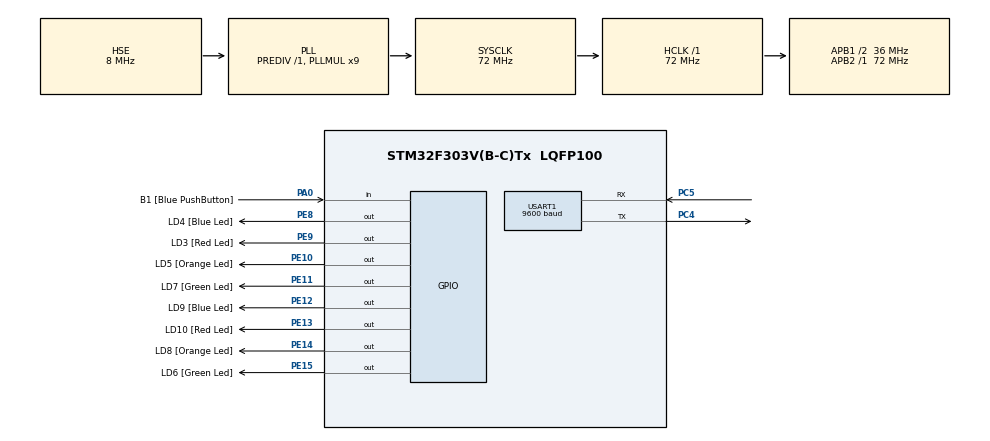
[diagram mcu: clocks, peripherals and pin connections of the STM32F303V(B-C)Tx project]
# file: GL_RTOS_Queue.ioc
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Dma.Request0=USART1_TX
Dma.USART1_TX.0.Direction=DMA_MEMORY_TO_PERIPH
Dma.USART1_TX.0.Instance=DMA1_Channel4
Dma.USART1_TX.0.MemDataAlignment=DMA_MDATAALIGN_BYTE
Dma.USART1_TX.0.MemInc=DMA_MINC_ENABLE
Dma.USART1_TX.0.Mode=DMA_NORMAL
Dma.USART1_TX.0.PeriphDataAlignment=DMA_PDATAALIGN_BYTE
Dma.USART1_TX.0.PeriphInc=DMA_PINC_DISABLE
Dma.USART1_TX.0.Priority=DMA_PRIORITY_LOW
FREERTOS.Queues01=myQueue01,256,uint8_t,0,Dynamic,NULL,NULL
FREERTOS.Tasks01=Sender,24,128,SenderTask,Default,NULL,Dynamic,NULL,NULL;Receiver,24,128,ReceiverTask,Default,NULL,Dynamic,NULL,NULL
Mcu.Family=STM32F3
Mcu.Name=STM32F303V(B-C)Tx
Mcu.Package=LQFP100
NVIC.DMA1_Channel4_IRQn=true\:5\:0\:false\:false\:true\:true\:false\:true
NVIC.PriorityGroup=NVIC_PRIORITYGROUP_4
NVIC.TIM7_IRQn=true\:0\:0\:false\:false\:true\:false\:false\:true
NVIC.TimeBase=TIM7_IRQn
NVIC.TimeBaseIP=TIM7
NVIC.USART1_IRQn=true\:5\:0\:false\:false\:true\:true\:true\:true
PA0.GPIO_Label=B1 [Blue PushButton]
PA0.Signal=GPIO_Input
PC4.Mode=Asynchronous
PC4.Signal=USART1_TX
PC5.Mode=Asynchronous
PC5.Signal=USART1_RX
PE10.GPIO_Label=LD5 [Orange Led]
PE10.Signal=GPIO_Output
PE11.GPIO_Label=LD7 [Green Led]
PE11.Signal=GPIO_Output
PE12.GPIO_Label=LD9 [Blue Led]
PE12.Signal=GPIO_Output
PE13.GPIO_Label=LD10 [Red Led]
PE13.Signal=GPIO_Output
PE14.GPIO_Label=LD8 [Orange Led]
PE14.Signal=GPIO_Output
PE15.GPIO_Label=LD6 [Green Led]
PE15.Signal=GPIO_Output
PE8.GPIO_Label=LD4 [Blue Led]
PE8.Signal=GPIO_Output
PE9.GPIO_Label=LD3 [Red Led]
PE9.Signal=GPIO_Output
PF0-OSC_IN.Mode=HSE-External-Oscillator
PF0-OSC_IN.Signal=RCC_OSC_IN
PF1-OSC_OUT.Mode=HSE-External-Oscillator
PF1-OSC_OUT.Signal=RCC_OSC_OUT
ProjectManager.HeapSize=0x200
ProjectManager.StackSize=0x400
ProjectManager.TargetToolchain=MDK-ARM V5.27
RCC.AHBFreq_Value=72000000
RCC.APB1CLKDivider=RCC_HCLK_DIV2
RCC.APB1Freq_Value=36000000
RCC.APB1TimFreq_Value=72000000
RCC.APB2Freq_Value=72000000
RCC.APB2TimFreq_Value=72000000
RCC.CortexFreq_Value=72000000
RCC.HCLKFreq_Value=72000000
RCC.HSE_VALUE=8000000
RCC.HSI_VALUE=8000000
RCC.LSE_VALUE=32768
RCC.PLLMUL=RCC_PLL_MUL9
RCC.PLLSourceVirtual=RCC_PLLSOURCE_HSE
RCC.SYSCLKFreq_VALUE=72000000
RCC.SYSCLKSourceVirtual=RCC_SYSCLKSOURCE_PLLCLK
RCC.USBFreq_Value=72000000
USART1.BaudRate=9600
USART1.VirtualMode-Asynchronous=VM_ASYNC
VP_FREERTOS_VS_CMSIS_V2.Mode=CMSIS_V2
VP_SYS_VS_tim7.Mode=TIM7
board=STM32F3DISCOVERY

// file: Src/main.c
/* USER CODE BEGIN Header */
/**
  ******************************************************************************
  * @file           : main.c
  * @brief          : Main program body
  ******************************************************************************
  * @attention
  *
  * <h2><center>&copy; Copyright (c) 2020 STMicroelectronics.
  * All rights reserved.</center></h2>
  *
  * This software component is licensed by ST under BSD 3-Clause license,
  * the "License"; You may not use this file except in compliance with the
  * License. You may obtain a copy of the License at:
  *                        opensource.org/licenses/BSD-3-Clause
  *
  ******************************************************************************
  */
/* USER CODE END Header */

#include "main.h"
#include "cmsis_os.h"

/* USER CODE BEGIN PD */
#define Blue_LED GPIO_PIN_8 	///< Queue isn't created. Memmory isn't llocated.
#define Red_LED GPIO_PIN_9 		///< Could not send data to the queue.
#define Orange_LED GPIO_PIN_10 	///< Queue is empty.
#define Green_LED GPIO_PIN_11 	///< Could not receive from the queue.
#define Red_LED2 GPIO_PIN_13 	///< Queue is full.

#define Green_LED2 GPIO_PIN_15 	///< Add data to queue every 0.1 sec

#define LED_GPIO_Port GPIOE
/* USER CODE END PD */

UART_HandleTypeDef huart1;
DMA_HandleTypeDef hdma_usart1_tx;

osThreadId_t SenderHandle;
osThreadId_t ReceiverHandle;
osMessageQueueId_t myQueue01Handle;

void SystemClock_Config(void);
static void MX_GPIO_Init(void);
static void MX_DMA_Init(void);
static void MX_USART1_UART_Init(void);
void SenderTask(void *argument);
void ReceiverTask(void *argument);

int main(void)
{

  /* MCU Configuration--------------------------------------------------------*/

  /* Reset of all peripherals, Initializes the Flash interface and the Systick. */
  HAL_Init();

  /* Configure the system clock */
  SystemClock_Config();

  /* Initialize all configured peripherals */
  MX_GPIO_Init();
  MX_DMA_Init();
  MX_USART1_UART_Init();

  osKernelInitialize();

  /* Create the queue(s) */
  /* definition and creation of myQueue01 */
  const osMessageQueueAttr_t myQueue01_attributes = {
    .name = "myQueue01"
  };
  myQueue01Handle = osMessageQueueNew (256, sizeof(uint8_t), &myQueue01_attributes);

  /* USER CODE BEGIN RTOS_QUEUES */
  /* add queues, ... */
  if (myQueue01Handle != NULL)
  {
  /* USER CODE END RTOS_QUEUES */

  /* Create the thread(s) */
  /* definition and creation of Sender */
  const osThreadAttr_t Sender_attributes = {
    .name = "Sender",
    .priority = (osPriority_t) osPriorityNormal,
    .stack_size = 128
  };
  SenderHandle = osThreadNew(SenderTask, NULL, &Sender_attributes);

  /* definition and creation of Receiver */
  const osThreadAttr_t Receiver_attributes = {
    .name = "Receiver",
    .priority = (osPriority_t) osPriorityNormal,
    .stack_size = 128
  };
  ReceiverHandle = osThreadNew(ReceiverTask, NULL, &Receiver_attributes);

  /* Start scheduler */
  osKernelStart();

  /* We should never get here as control is now taken by the scheduler */

  /* Infinite loop */
  /* USER CODE BEGIN WHILE */
  }
  else
  {
	uint8_t buffTx[] = "Queue isn't created!\n\r";
	HAL_GPIO_WritePin(LED_GPIO_Port, Blue_LED, GPIO_PIN_RESET);osDelay(1000);
	HAL_GPIO_WritePin(LED_GPIO_Port, Blue_LED, GPIO_PIN_SET);
	HAL_UART_Transmit_DMA(&huart1, buffTx, sizeof(buffTx));
  }

  while (1)
  {
    /* USER CODE END WHILE */

  }
}

void SystemClock_Config(void)
{
  RCC_OscInitTypeDef RCC_OscInitStruct = {0};
  RCC_ClkInitTypeDef RCC_ClkInitStruct = {0};
  RCC_PeriphCLKInitTypeDef PeriphClkInit = {0};

  /** Initializes the CPU, AHB and APB busses clocks
  */
  RCC_OscInitStruct.OscillatorType = RCC_OSCILLATORTYPE_HSE;
  RCC_OscInitStruct.HSEState = RCC_HSE_ON;
  RCC_OscInitStruct.HSEPredivValue = RCC_HSE_PREDIV_DIV1;
  RCC_OscInitStruct.HSIState = RCC_HSI_ON;
  RCC_OscInitStruct.PLL.PLLState = RCC_PLL_ON;
  RCC_OscInitStruct.PLL.PLLSource = RCC_PLLSOURCE_HSE;
  RCC_OscInitStruct.PLL.PLLMUL = RCC_PLL_MUL9;
  if (HAL_RCC_OscConfig(&RCC_OscInitStruct) != HAL_OK)
  {
    Error_Handler();
  }
  /** Initializes the CPU, AHB and APB busses clocks
  */
  RCC_ClkInitStruct.ClockType = RCC_CLOCKTYPE_HCLK|RCC_CLOCKTYPE_SYSCLK
                              |RCC_CLOCKTYPE_PCLK1|RCC_CLOCKTYPE_PCLK2;
  RCC_ClkInitStruct.SYSCLKSource = RCC_SYSCLKSOURCE_PLLCLK;
  RCC_ClkInitStruct.AHBCLKDivider = RCC_SYSCLK_DIV1;
  RCC_ClkInitStruct.APB1CLKDivider = RCC_HCLK_DIV2;
  RCC_ClkInitStruct.APB2CLKDivider = RCC_HCLK_DIV1;

  if (HAL_RCC_ClockConfig(&RCC_ClkInitStruct, FLASH_LATENCY_2) != HAL_OK)
  {
    Error_Handler();
  }
  PeriphClkInit.PeriphClockSelection = RCC_PERIPHCLK_USART1;
  PeriphClkInit.Usart1ClockSelection = RCC_USART1CLKSOURCE_PCLK2;
  if (HAL_RCCEx_PeriphCLKConfig(&PeriphClkInit) != HAL_OK)
  {
    Error_Handler();
  }
}

static void MX_USART1_UART_Init(void)
{

  huart1.Instance = USART1;
  huart1.Init.BaudRate = 9600;
  huart1.Init.WordLength = UART_WORDLENGTH_8B;
  huart1.Init.StopBits = UART_STOPBITS_1;
  huart1.Init.Parity = UART_PARITY_NONE;
  huart1.Init.Mode = UART_MODE_TX_RX;
  huart1.Init.HwFlowCtl = UART_HWCONTROL_NONE;
  huart1.Init.OverSampling = UART_OVERSAMPLING_16;
  huart1.Init.OneBitSampling = UART_ONE_BIT_SAMPLE_DISABLE;
  huart1.AdvancedInit.AdvFeatureInit = UART_ADVFEATURE_NO_INIT;
  if (HAL_UART_Init(&huart1) != HAL_OK)
  {
    Error_Handler();
  }

}

static void MX_DMA_Init(void)
{

  /* DMA controller clock enable */
  __HAL_RCC_DMA1_CLK_ENABLE();

  /* DMA interrupt init */
  /* DMA1_Channel4_IRQn interrupt configuration */
  HAL_NVIC_SetPriority(DMA1_Channel4_IRQn, 5, 0);
  HAL_NVIC_EnableIRQ(DMA1_Channel4_IRQn);

}

static void MX_GPIO_Init(void)
{
  GPIO_InitTypeDef GPIO_InitStruct = {0};

  /* GPIO Ports Clock Enable */
  __HAL_RCC_GPIOF_CLK_ENABLE();
  __HAL_RCC_GPIOA_CLK_ENABLE();
  __HAL_RCC_GPIOC_CLK_ENABLE();
  __HAL_RCC_GPIOE_CLK_ENABLE();

  /*Configure GPIO pin Output Level */
  HAL_GPIO_WritePin(GPIOE, LD4_Pin|LD3_Pin|LD5_Pin|LD7_Pin
                          |LD9_Pin|LD10_Pin|LD8_Pin|LD6_Pin, GPIO_PIN_RESET);

  /*Configure GPIO pin : B1_Pin */
  GPIO_InitStruct.Pin = B1_Pin;
  GPIO_InitStruct.Mode = GPIO_MODE_INPUT;
  GPIO_InitStruct.Pull = GPIO_NOPULL;
  HAL_GPIO_Init(B1_GPIO_Port, &GPIO_InitStruct);

  /*Configure GPIO pins : LD4_Pin LD3_Pin LD5_Pin LD7_Pin
                           LD9_Pin LD10_Pin LD8_Pin LD6_Pin */
  GPIO_InitStruct.Pin = LD4_Pin|LD3_Pin|LD5_Pin|LD7_Pin
                          |LD9_Pin|LD10_Pin|LD8_Pin|LD6_Pin;
  GPIO_InitStruct.Mode = GPIO_MODE_OUTPUT_PP;
  GPIO_InitStruct.Pull = GPIO_NOPULL;
  GPIO_InitStruct.Speed = GPIO_SPEED_FREQ_LOW;
  HAL_GPIO_Init(GPIOE, &GPIO_InitStruct);

}

void SenderTask(void *argument)
{
  /* USER CODE BEGIN 5 */
  portBASE_TYPE xStatus;
  uint8_t lValueToSend = 0;
  /* Infinite loop */
  for(;;)
  {
	if(osMessageQueueGetCount( myQueue01Handle ) < 25)
	{
		HAL_GPIO_WritePin(LED_GPIO_Port, Red_LED2, GPIO_PIN_RESET);
		if (HAL_GPIO_ReadPin(B1_GPIO_Port, B1_Pin) == GPIO_PIN_SET)
		{
			if(lValueToSend < 25) lValueToSend++;
			else lValueToSend = 0;

			xStatus = osMessageQueuePut( myQueue01Handle, &lValueToSend, NULL, 0);
			HAL_GPIO_TogglePin(LED_GPIO_Port, Green_LED2);

			if( xStatus != osOK)
			{
				uint8_t buffTx[] = "Could not send to the queue.\r\n";
				HAL_GPIO_WritePin(LED_GPIO_Port, Red_LED, GPIO_PIN_RESET);osDelay(1000);
				HAL_GPIO_WritePin(LED_GPIO_Port, Red_LED, GPIO_PIN_SET);
				HAL_UART_Transmit_DMA(&huart1, buffTx, sizeof(buffTx));
			}
		}
	}
	else
	{
		uint8_t buffTx[] = "Queue is full!\r\n";
		HAL_GPIO_WritePin(LED_GPIO_Port, Red_LED2, GPIO_PIN_SET);
		HAL_UART_Transmit_DMA(&huart1, buffTx, sizeof(buffTx));
		osDelay(2*1000);//2sec
	}
	osDelay(100);
  }
  /* USER CODE END 5 */
}

void ReceiverTask(void *argument)
{
  /* USER CODE BEGIN ReceiverTask */
  uint8_t lReceivedValue;
  portBASE_TYPE xStatus;
  /* Infinite loop */
  for(;;)
  {
	if( osMessageQueueGetCount( myQueue01Handle ) != 0 )
	{
		xStatus = osMessageQueueGet( myQueue01Handle, &lReceivedValue, NULL, 100);
		if( xStatus == osOK )
		{
			uint8_t buffTx[30] = "";
			sprintf(buffTx, "Received = %d!\r\n", lReceivedValue);
			HAL_UART_Transmit_DMA(&huart1, buffTx, sizeof(buffTx));
			osDelay(50);
		}
		else
		{
			uint8_t buffTx[] = "Could not receive from the queue.\r\n";
			HAL_GPIO_WritePin(LED_GPIO_Port, Green_LED, GPIO_PIN_RESET);osDelay(1000);
			HAL_GPIO_WritePin(LED_GPIO_Port, Green_LED, GPIO_PIN_SET);
			HAL_UART_Transmit_DMA(&huart1, buffTx, sizeof(buffTx));
			osDelay(50);
		}
	}
	else
	{
		uint8_t buffTx[] = "Queue is empty!\r\n";
		HAL_GPIO_WritePin(LED_GPIO_Port, Orange_LED, GPIO_PIN_RESET);osDelay(1000);
		HAL_GPIO_WritePin(LED_GPIO_Port, Orange_LED, GPIO_PIN_SET);
		HAL_UART_Transmit_DMA(&huart1, buffTx, sizeof(buffTx));
		osDelay(5*1000);//5sec
	}
	osDelay(1000);
  }
  /* USER CODE END ReceiverTask */
}

void HAL_TIM_PeriodElapsedCallback(TIM_HandleTypeDef *htim)
{
  if (htim->Instance == TIM7) {
    HAL_IncTick();
  }
}

void Error_Handler(void)
{
}

/************************ (C) COPYRIGHT STMicroelectronics *****END OF FILE****/
